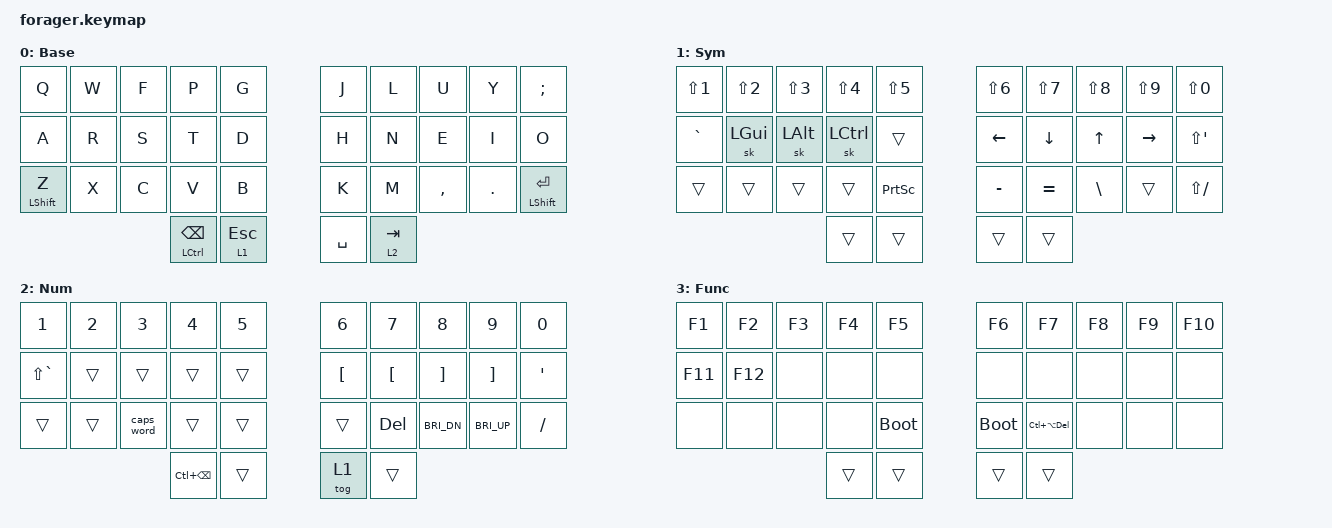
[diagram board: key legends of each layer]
#include <behaviors.dtsi>
#include <dt-bindings/zmk/keys.h>
#include <dt-bindings/zmk/bt.h>
#include <dt-bindings/zmk/outputs.h>


/ {
    behaviors {
        tp: tap_preferred{
            compatible = "zmk,behavior-hold-tap";
            #binding-cells = <2>;
            tapping_term_ms = <135>;
            quick_tap_ms = <135>;
            flavor = "tap-preferred";
            bindings = <&kp>, <&kp>;
        };
        combo_boot_l {
            timeout-ms = <50>;
            key-positions = <0 1 2>;
            bindings = <&bootloader>;
			require-prior-idle-ms = <3000>;
        };

        combo_boot_r {
            timeout-ms = <50>;
            key-positions = <7 8 9>;
            bindings = <&bootloader>;
			require-prior-idle-ms = <3000>;
        };

        ht: hold_tap {
            compatible = "zmk,behavior-hold-tap";
            #binding-cells = <2>;
            tapping-term-ms = <130>;
            flavor = "balanced";
            bindings = <&kp>, <&kp>;
        };

        lhm: left_homerow_mods {
            compatible = "zmk,behavior-hold-tap";
            #binding-cells = <2>;
            flavor = "balanced";
            tapping-term-ms = <280>;
            quick-tap-ms = <175>;
            require-prior-idle-ms = <150>;
            bindings = <&kp>, <&kp>;
            hold-trigger-key-positions = <5 6 7 8 9 15 16 17 18 19 25 26 27 28 29 30 31 32 33>;
        };
        rhm: right_homerow_mods {
            compatible = "zmk,behavior-hold-tap";
            #binding-cells = <2>;
            flavor = "balanced";
            tapping-term-ms = <280>;
            quick-tap-ms = <175>;
            require-prior-idle-ms = <150>;
            bindings = <&kp>, <&kp>;
            hold-trigger-key-positions = <0 1 2 3 4 10 11 12 13 14 20 21 22 23 24 30 31 32 33>;
        };
    };

    conditional_layers {
        compatible = "zmk,conditional-layers";
        tri_layer {
            if-layers = <1 2>;
            then-layer = <3>;
        };
    };

    keymap {
        compatible = "zmk,keymap";

        base_layer {
			display-name = "Base";
            bindings = <
                &kp Q       &kp W       &kp F       &kp P       &kp G           &kp J       &kp L       &kp U       &kp Y       &kp SEMI
                &kp A       &kp R       &kp S       &kp T       &kp D           &kp H       &kp N       &kp E       &kp I       &kp O
                &ht LSHIFT Z       &kp X       &kp C       &kp V       &kp B           &kp K       &kp M       &kp COMMA   &kp DOT     &ht LSHIFT RET
                                                    &mt LCTRL BSPC &lt 1 ESC      &kp SPACE   &lt 2 TAB
            >;
        };

        sym_layer {
			display-name = "Sym";
            bindings = <
                &kp LS(N1)  &kp LS(N2)  &kp LS(N3)  &kp LS(N4)  &kp LS(N5)      &kp LS(N6)  &kp LS(N7)  &kp LS(N8)  &kp LS(N9)  &kp LS(N0)
                &kp GRAVE   &sk LGUI      &sk LALT	&sk LCTRL      &trans          &kp LEFT    &kp DOWN    &kp UP      &kp RIGHT   &kp LS(SQT)
                &trans      &trans      &trans      &trans      &kp PSCRN       &kp MINUS   &kp EQUAL   &kp BSLH      &trans      &kp LS(FSLH)
                                                    &trans      &trans          &trans      &trans
            >;
        };

        nav_layer {
			display-name = "Num";
            bindings = <
                &kp N1			&kp N2      &kp N3      &kp N4      &kp N5          &kp N6      &kp N7      &kp N8      &kp N9      &kp N0
                &kp LS(GRAVE)   &trans		&trans		&trans      &trans          &kp LBKT    &kp LBKT    &kp RBKT    &kp RBKT    &kp SQT
                &trans			&trans      &caps_word  &trans      &trans          &trans     &kp DEL     &kp C_BRI_DN &kp C_BRI_UP &kp FSLH
                                                    &kp LC(BSPC)      &trans          &tog 1      &trans
            >;
        };

        func_layer {
			display-name = "Func";
            bindings = <
                &kp F1      &kp F2      &kp F3      &kp F4      &kp F5          &kp F6      &kp F7      &kp F8      &kp F9      &kp F10
                &kp F11     &kp F12     &none   &none       &none           &none       &none &none       &none       &none
                &none       &none       &none       &none       &bootloader           &bootloader	&kp LC(LA(DEL)) &none       &none       &none
                                                    &trans      &trans          &trans      &trans
            >;
        };
    };
};
